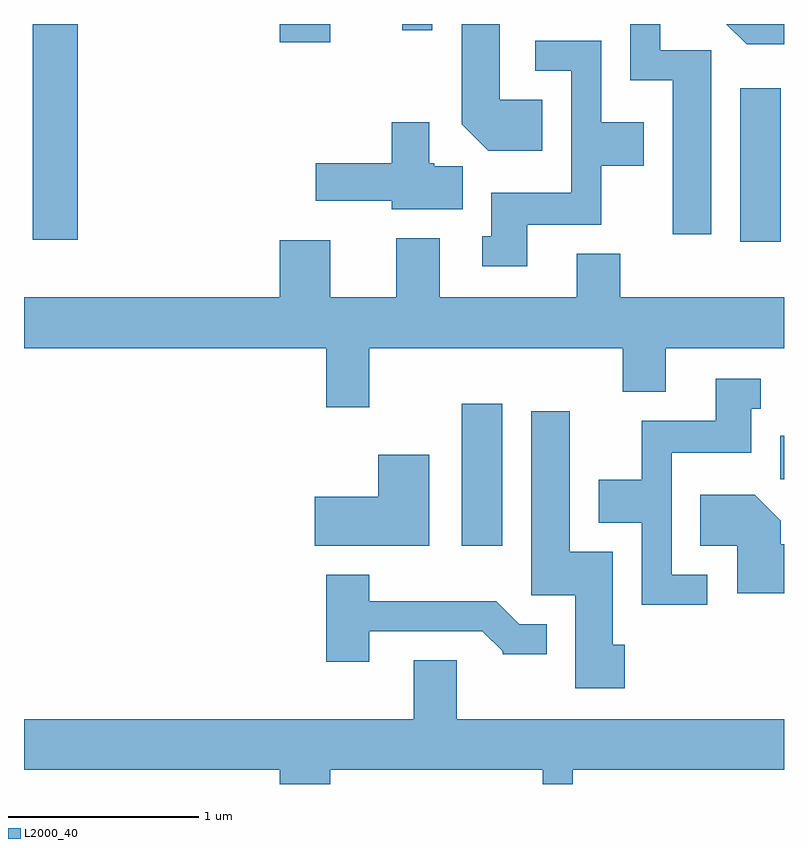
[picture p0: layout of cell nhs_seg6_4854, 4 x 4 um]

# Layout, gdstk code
import gdstk
lib = gdstk.Library(unit=1e-6, precision=1e-09)
def R(c, l, rs):  # rectangles x0, y0, x1, y1
    for r in rs: c.add(gdstk.rectangle(r[:2], r[2:], *l))
def P(c, l, *ps):  # polygons
    for p in ps: c.add(gdstk.Polygon(p, *l))
L2000_40 = (2000, 40)

nhs_seg6_4854 = lib.new_cell('nhs_seg6_4854')
R(nhs_seg6_4854, L2000_40, [(335.916,1573.416,336.129,1574.164), (337.591,1573.766,337.611,1573.994), (337.381,1575.016,337.594,1575.824), (333.656,1575.026,333.894,1576.162), (334.956,1576.066,335.224,1576.162), (335.601,1576.128,335.759,1576.162)])
P(nhs_seg6_4854, L2000_40, [(337.611,1576.162),(337.308,1576.162),(337.414,1576.056),(337.611,1576.056)],
  [(337.229,1576.024),(336.959,1576.024),(336.959,1576.162),(336.801,1576.162),(336.801,1575.866),(337.026,1575.866),(337.026,1575.056),(337.229,1575.056)],
  [(336.339,1575.764),(336.114,1575.764),(336.114,1576.162),(335.916,1576.162),(335.916,1575.634),(336.054,1575.496),(336.339,1575.496)],
  [(336.259,1575.106),(336.649,1575.106),(336.649,1575.416),(336.874,1575.416),(336.874,1575.644),(336.649,1575.644),(336.649,1576.074),(336.303,1576.074),(336.303,1575.916),(336.491,1575.916),(336.491,1575.274),(336.071,1575.274),(336.071,1575.044),(336.023,1575.044),(336.023,1574.886),(336.259,1574.886)],
  [(335.919,1575.414),(335.77,1575.414),(335.77,1575.429),(335.744,1575.429),(335.744,1575.644),(335.546,1575.644),(335.546,1575.429),(335.146,1575.429),(335.146,1575.231),(335.546,1575.231),(335.546,1575.186),(335.919,1575.186)],
  [(335.429,1574.456),(336.761,1574.456),(336.761,1574.226),(336.989,1574.226),(336.989,1574.456),(337.611,1574.456),(337.611,1574.724),(336.749,1574.724),(336.749,1574.954),(336.521,1574.954),(336.521,1574.724),(335.799,1574.724),(335.799,1575.034),(335.571,1575.034),(335.571,1574.724),(335.224,1574.724),(335.224,1575.024),(334.956,1575.024),(334.956,1574.724),(333.611,1574.724),(333.611,1574.456),(335.201,1574.456),(335.201,1574.146),(335.429,1574.146)],
  [(337.208,1573.264),(337.019,1573.264),(337.019,1573.906),(337.439,1573.906),(337.439,1574.136),(337.488,1574.136),(337.488,1574.294),(337.251,1574.294),(337.251,1574.074),(336.861,1574.074),(336.861,1573.764),(336.636,1573.764),(336.636,1573.536),(336.861,1573.536),(336.861,1573.106),(337.208,1573.106)],
  [(336.774,1572.894),(336.709,1572.894),(336.709,1573.384),(336.484,1573.384),(336.484,1574.124),(336.281,1574.124),(336.281,1573.156),(336.511,1573.156),(336.511,1572.666),(336.774,1572.666)],
  [(335.744,1573.894),(335.476,1573.894),(335.476,1573.674),(335.141,1573.674),(335.141,1573.416),(335.744,1573.416)],
  [(337.611,1573.424),(337.594,1573.424),(337.594,1573.547),(337.457,1573.684),(337.171,1573.684),(337.171,1573.416),(337.366,1573.416),(337.366,1573.166),(337.611,1573.166)],
  [(335.429,1572.966),(336.024,1572.966),(336.13,1572.86),(336.13,1572.846),(336.363,1572.846),(336.363,1573.004),(336.217,1573.004),(336.097,1573.124),(335.429,1573.124),(335.429,1573.264),(335.201,1573.264),(335.201,1572.806),(335.429,1572.806)],
  [(335.224,1572.236),(336.341,1572.236),(336.341,1572.162),(336.499,1572.162),(336.499,1572.236),(337.611,1572.236),(337.611,1572.504),(335.889,1572.504),(335.889,1572.814),(335.661,1572.814),(335.661,1572.504),(333.611,1572.504),(333.611,1572.236),(334.956,1572.236),(334.956,1572.162),(335.224,1572.162)])

lib.write_gds('nhs_seg6_4854.gds')
